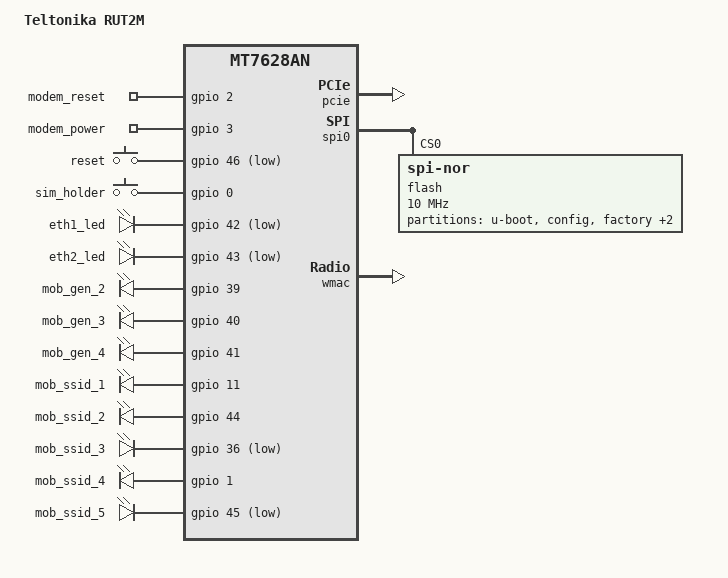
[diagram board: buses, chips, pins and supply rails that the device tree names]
// SPDX-License-Identifier: GPL-2.0-or-later OR MIT
/dts-v1/;

#include <dt-bindings/input/input.h>
#include <dt-bindings/gpio/gpio.h>
#include "mt7628an.dtsi"
#include "platform_name.dtsi"

/ {
	compatible = "teltonika,rut2m", "mediatek,mt7628an-soc";
	model = "Teltonika RUT2M";

	chosen {
		bootargs = "console=ttyS0,115200";
	};

	gpio-export {
		compatible = "gpio-export";
		#size-cells = <0>;

		gpio_modem_reset {
			gpio-export,name = "modem_reset";
			gpio-export,output = <0>;
			gpios = <&gpio 2 GPIO_ACTIVE_HIGH>;
		};

		gpio_modem_power {
			gpio-export,name = "modem_power";
			gpio-export,output = <0>;
			gpios = <&gpio 3 GPIO_ACTIVE_HIGH>;
		};
	};

	keys {
		compatible = "gpio-keys";

		reset {
			label = "reset";
			gpios = <&gpio 46 GPIO_ACTIVE_LOW>;
			linux,code = <KEY_RESTART>;
		};

		sim_holder {
			label = "sim_holder";
			linux,code = <BTN_0>;
			gpios = <&gpio 0 GPIO_ACTIVE_HIGH>;
		};
	};

	leds {
		compatible = "gpio-leds";

		eth1_led {
			label = "eth1_led";
			gpios = <&gpio 42 GPIO_ACTIVE_LOW>;
		};

		eth2_led {
			label = "eth2_led";
			gpios = <&gpio 43 GPIO_ACTIVE_LOW>;
		};

		led_gen_2 {
			label = "mob_gen_2";
			gpios = <&gpio 39 GPIO_ACTIVE_HIGH>;
		};

		led_gen_3 {
			label = "mob_gen_3";
			gpios = <&gpio 40 GPIO_ACTIVE_HIGH>;
		};

		led_gen_4 {
			label = "mob_gen_4";
			gpios = <&gpio 41 GPIO_ACTIVE_HIGH>;
		};

		led_ssid_1 {
			label = "mob_ssid_1";
			gpios = <&gpio 11 GPIO_ACTIVE_HIGH>;
			linux,default-trigger = "timer";
		};

		led_ssid_2 {
			label = "mob_ssid_2";
			gpios = <&gpio 44 GPIO_ACTIVE_HIGH>;
			linux,default-trigger = "timer";
		};

		led_ssid_3 {
			label = "mob_ssid_3";
			gpios = <&gpio 36 GPIO_ACTIVE_LOW>;
			linux,default-trigger = "timer";
		};

		led_ssid_4 {
			label = "mob_ssid_4";
			gpios = <&gpio 1 GPIO_ACTIVE_HIGH>;
			linux,default-trigger = "timer";
		};

		led_ssid_5 {
			label = "mob_ssid_5";
			gpios = <&gpio 45 GPIO_ACTIVE_LOW>;
			linux,default-trigger = "timer";
		};

	};
};

&state_default {
	gpio {
		groups = "i2s", "uart1", "p4led_an", "p3led_an", "p2led_an", "p1led_an", "p0led_an", "gpio", "wled_an", "perst";
		function = "gpio";
	};
};

&pcie {
	status = "okay";
};

&pcie0 {
	mt76@0,0 {
		reg = <0x0000 0 0 0 0>;
		mediatek,mtd-eeprom = <&factory 0x28000>;
		ieee80211-freq-limit = <5000000 6000000>;
		mtd-mac-address = <&factory 0xf100>;
		mtd-mac-address-increment = <(-1)>;
	};
};

&spi0 {
	status = "okay";

	flash@0 {
		compatible = "jedec,spi-nor";
		reg = <0>;
		spi-max-frequency = <10000000>;

		partitions {
			compatible = "fixed-partitions";
			#address-cells = <1>;
			#size-cells = <1>;

			partition@0 {
				label = "u-boot";
				reg = <0x0 0x20000>;
				read-only;
			};

			config: partition@20000 {
				label = "config";
				reg = <0x020000 0x010000>;
				read-only;
			};

			factory: partition@30000 {
				label = "factory";
				reg = <0x030000 0x030000>;
				read-only;
			};

			partition@60000 {
				compatible = "denx,uimage";
				label = "firmware";
				reg = <0x060000 0xf10000>;
			};

			partition@f70000 {
				label = "event-log";
				reg = <0xf70000 0x90000>;
			};
		};
	};
};

&wmac {
	status = "okay";
	mtd-mac-address = <&config 0x0>;
	mtd-mac-address-increment = <2>;
	mediatek,mtd-eeprom = <&factory 0x20000>;
};

&ethernet {
	mtd-mac-address = <&config 0x0>;
};

&esw {
	mediatek,portmap = <0x3e>;
};
